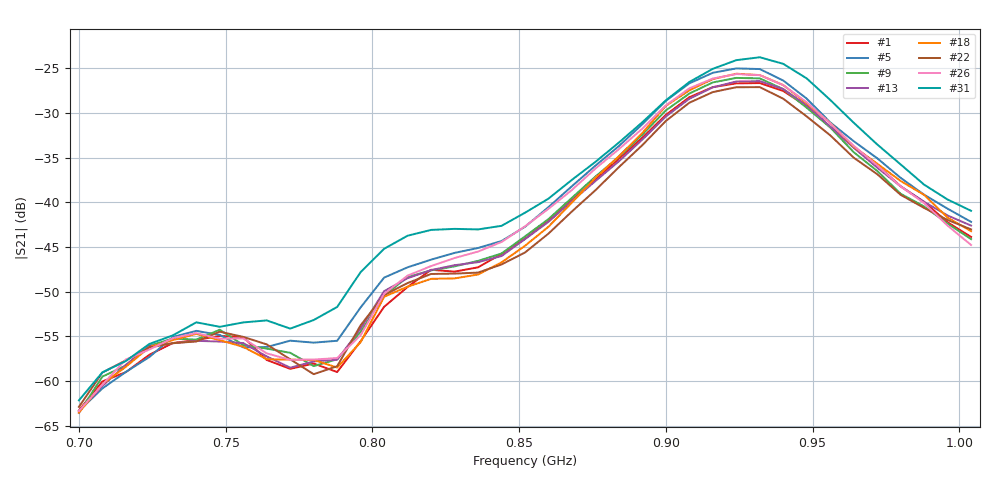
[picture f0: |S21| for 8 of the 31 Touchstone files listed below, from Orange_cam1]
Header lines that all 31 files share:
# Hz S RI R 50
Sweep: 700 MHz to 1.004 GHz
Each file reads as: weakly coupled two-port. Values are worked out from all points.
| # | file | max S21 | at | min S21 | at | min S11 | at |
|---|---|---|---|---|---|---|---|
| 1 | cam1.s2p | -26.67 dB | 932 MHz | -63.3 dB | 700 MHz | -18.9 dB | 932 MHz |
| 2 | cam1x90 (1).s2p | -26.30 dB | 924 MHz | -64.3 dB | 700 MHz | -19.3 dB | 932 MHz |
| 3 | cam1x90 (2).s2p | -27.08 dB | 924 MHz | -63.7 dB | 700 MHz | -21.2 dB | 932 MHz |
| 4 | cam1x90 (3).s2p | -25.73 dB | 924 MHz | -64.3 dB | 700 MHz | -18.3 dB | 924 MHz |
| 5 | cam1x90 (4).s2p | -25.03 dB | 924 MHz | -63.3 dB | 700 MHz | -19.7 dB | 932 MHz |
| 6 | cam1x90 (5).s2p | -25.65 dB | 924 MHz | -64.4 dB | 700 MHz | -18.2 dB | 924 MHz |
| 7 | cam1x90 (6).s2p | -25.82 dB | 924 MHz | -63.9 dB | 700 MHz | -19.2 dB | 924 MHz |
| 8 | cam1x90 (7).s2p | -25.79 dB | 932 MHz | -63.1 dB | 700 MHz | -22.3 dB | 932 MHz |
| 9 | cam1x90 (8).s2p | -26.09 dB | 924 MHz | -63.6 dB | 700 MHz | -18.4 dB | 932 MHz |
| 10 | cam1x90 (9).s2p | -25.94 dB | 924 MHz | -62.8 dB | 700 MHz | -18.7 dB | 924 MHz |
| 11 | cam1x90 (10).s2p | -25.92 dB | 924 MHz | -63.6 dB | 700 MHz | -18.1 dB | 932 MHz |
| 12 | cam1x180 (1).s2p | -26.35 dB | 932 MHz | -64.0 dB | 700 MHz | -19.2 dB | 932 MHz |
| 13 | cam1x180 (2).s2p | -26.45 dB | 932 MHz | -63.4 dB | 700 MHz | -19.4 dB | 932 MHz |
| 14 | cam1x180 (3).s2p | -25.37 dB | 924 MHz | -64.4 dB | 700 MHz | -18.8 dB | 932 MHz |
| 15 | cam1x180 (4).s2p | -25.16 dB | 924 MHz | -63.2 dB | 700 MHz | -19.5 dB | 932 MHz |
| 16 | cam1x180 (5).s2p | -25.65 dB | 924 MHz | -62.6 dB | 700 MHz | -18.5 dB | 924 MHz |
| 17 | cam1x180 (6).s2p | -25.62 dB | 924 MHz | -65.1 dB | 700 MHz | -19.6 dB | 924 MHz |
| 18 | cam1x180 (7).s2p | -25.63 dB | 924 MHz | -63.5 dB | 700 MHz | -20.9 dB | 932 MHz |
| 19 | cam1x180 (8).s2p | -26.09 dB | 924 MHz | -63.7 dB | 700 MHz | -20.6 dB | 932 MHz |
| 20 | cam1x180 (9).s2p | -25.69 dB | 924 MHz | -62.9 dB | 700 MHz | -18.0 dB | 932 MHz |
| 21 | cam1x180 (10).s2p | -25.76 dB | 924 MHz | -63.3 dB | 700 MHz | -18.2 dB | 932 MHz |
| 22 | cam2.s2p | -27.12 dB | 932 MHz | -62.9 dB | 700 MHz | -19.1 dB | 932 MHz |
| 23 | cam3.s2p | -25.59 dB | 924 MHz | -62.4 dB | 700 MHz | -20.2 dB | 932 MHz |
| 24 | cam4.s2p | -25.04 dB | 924 MHz | -63.6 dB | 700 MHz | -19.4 dB | 932 MHz |
| 25 | cam5.s2p | -25.98 dB | 924 MHz | -63.7 dB | 700 MHz | -18.2 dB | 932 MHz |
| 26 | cam6.s2p | -25.66 dB | 924 MHz | -63.3 dB | 700 MHz | -18.2 dB | 932 MHz |
| 27 | cam7.s2p | -25.91 dB | 924 MHz | -62.8 dB | 700 MHz | -19.3 dB | 932 MHz |
| 28 | cam8.s2p | -26.14 dB | 924 MHz | -62.0 dB | 700 MHz | -18.1 dB | 932 MHz |
| 29 | cam9.s2p | -26.00 dB | 924 MHz | -63.5 dB | 700 MHz | -18.8 dB | 932 MHz |
| 30 | cam10.s2p | -26.00 dB | 924 MHz | -63.3 dB | 700 MHz | -18.9 dB | 932 MHz |
| 31 | moitruongcam.s2p | -23.78 dB | 932 MHz | -62.1 dB | 700 MHz | -20.9 dB | 932 MHz |
